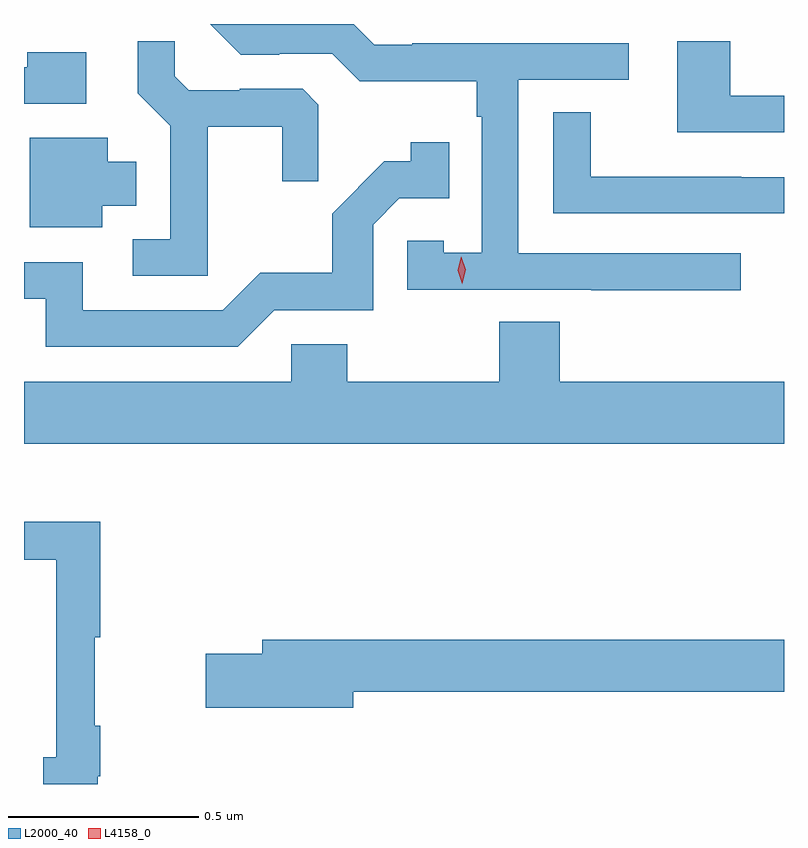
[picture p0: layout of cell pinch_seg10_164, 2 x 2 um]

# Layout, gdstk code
import gdstk
lib = gdstk.Library(unit=1e-6, precision=1e-09)
def P(c, l, *ps):  # polygons
    for p in ps: c.add(gdstk.Polygon(p, *l))
L2000_40 = (2000, 40)
L4158_0 = (4158, 0)

pinch_seg10_164 = lib.new_cell('pinch_seg10_164')
P(pinch_seg10_164, L2000_40, [(736.84,1275.51),(736.254,1275.51),(736.254,1275.966),(736.546,1275.966),(736.546,1276.062),(735.976,1276.062),(735.976,1276.059),(735.876,1276.059),(735.822,1276.113),(735.444,1276.113),(735.525,1276.032),(735.626,1276.032),(735.626,1276.035),(735.765,1276.035),(735.838,1275.962),(736.146,1275.962),(736.146,1275.869),(736.158,1275.869),(736.158,1275.511),(736.059,1275.511),(736.059,1275.543),(735.963,1275.543),(735.963,1275.414),(736.447,1275.414),(736.447,1275.412),(736.84,1275.412)],
  [(735.437,1275.842),(735.634,1275.842),(735.634,1275.699),(735.728,1275.699),(735.728,1275.901),(735.687,1275.942),(735.522,1275.942),(735.522,1275.939),(735.388,1275.939),(735.351,1275.976),(735.351,1276.067),(735.253,1276.067),(735.253,1275.931),(735.339,1275.845),(735.339,1275.546),(735.24,1275.546),(735.24,1275.45),(735.437,1275.45)],
  [(736.954,1275.924),(736.813,1275.924),(736.813,1276.067),(736.673,1276.067),(736.673,1275.828),(736.954,1275.828)],
  [(735.118,1276.039),(734.962,1276.039),(734.962,1275.999),(734.954,1275.999),(734.954,1275.903),(735.118,1275.903)],
  [(736.954,1275.71),(736.841,1275.71),(736.841,1275.711),(736.446,1275.711),(736.446,1275.881),(736.347,1275.881),(736.347,1275.615),(736.954,1275.615)],
  [(735.16,1275.635),(735.25,1275.635),(735.25,1275.751),(735.175,1275.751),(735.175,1275.814),(734.969,1275.814),(734.969,1275.578),(735.16,1275.578)],
  [(735.612,1275.36),(735.873,1275.36),(735.873,1275.585),(735.942,1275.654),(736.073,1275.654),(736.073,1275.802),(735.972,1275.802),(735.972,1275.752),(735.902,1275.752),(735.765,1275.614),(735.765,1275.459),(735.576,1275.459),(735.477,1275.36),(735.109,1275.36),(735.109,1275.486),(734.954,1275.486),(734.954,1275.39),(735.011,1275.39),(735.011,1275.264),(735.516,1275.264)],
  [(736.954,1275.172),(736.364,1275.172),(736.364,1275.329),(736.204,1275.329),(736.204,1275.172),(735.804,1275.172),(735.804,1275.27),(735.657,1275.27),(735.657,1275.172),(734.954,1275.172),(734.954,1275.008),(736.954,1275.008)],
  [(735.148,1274.134),(735.155,1274.134),(735.155,1274.266),(735.14,1274.266),(735.14,1274.499),(735.155,1274.499),(735.155,1274.803),(734.954,1274.803),(734.954,1274.703),(735.039,1274.703),(735.039,1274.183),(735.005,1274.183),(735.005,1274.113),(735.148,1274.113)],
  [(735.82,1274.356),(736.954,1274.356),(736.954,1274.492),(735.581,1274.492),(735.581,1274.456),(735.432,1274.456),(735.432,1274.314),(735.82,1274.314)])
P(pinch_seg10_164, L4158_0, [(736.107,1275.429),(736.107,1275.429),(736.096,1275.465),(736.104,1275.501),(736.104,1275.501),(736.105,1275.501),(736.116,1275.466),(736.107,1275.429)])

lib.write_gds('pinch_seg10_164.gds')
